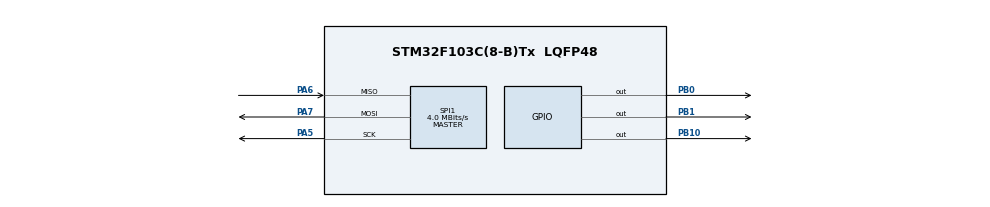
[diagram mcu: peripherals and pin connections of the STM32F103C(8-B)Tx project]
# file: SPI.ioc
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Mcu.Family=STM32F1
Mcu.Name=STM32F103C(8-B)Tx
Mcu.Package=LQFP48
NVIC.PriorityGroup=NVIC_PRIORITYGROUP_4
PA13.Mode=Serial_Wire
PA13.Signal=SYS_JTMS-SWDIO
PA14.Mode=Serial_Wire
PA14.Signal=SYS_JTCK-SWCLK
PA5.Mode=Full_Duplex_Master
PA5.Signal=SPI1_SCK
PA6.Mode=Full_Duplex_Master
PA6.Signal=SPI1_MISO
PA7.Mode=Full_Duplex_Master
PA7.Signal=SPI1_MOSI
PB0.Signal=GPIO_Output
PB1.Signal=GPIO_Output
PB10.Signal=GPIO_Output
ProjectManager.HeapSize=0x200
ProjectManager.StackSize=0x400
ProjectManager.TargetToolchain=STM32CubeIDE
RCC.APB1Freq_Value=8000000
RCC.APB2Freq_Value=8000000
SPI1.CalculateBaudRate=4.0 MBits/s
SPI1.Direction=SPI_DIRECTION_2LINES
SPI1.Mode=SPI_MODE_MASTER
SPI1.VirtualType=VM_MASTER
board=custom

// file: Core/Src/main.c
/* USER CODE BEGIN Header */
/**
  ******************************************************************************
  * @file           : main.c
  * @brief          : Main program body
  ******************************************************************************
  * @attention
  *
  * Copyright (c) 2026 STMicroelectronics.
  * All rights reserved.
  *
  * This software is licensed under terms that can be found in the LICENSE file
  * in the root directory of this software component.
  * If no LICENSE file comes with this software, it is provided AS-IS.
  *
  ******************************************************************************
  */
/* USER CODE END Header */
#include "main.h"

SPI_HandleTypeDef hspi1;

void SystemClock_Config(void);
static void MX_GPIO_Init(void);
static void MX_SPI1_Init(void);

/* USER CODE BEGIN 0 */

void writeCMD(uint8_t cmd){
	HAL_GPIO_WritePin(GPIOB, GPIO_PIN_0, 0); // CS =0
	HAL_GPIO_WritePin(GPIOB, GPIO_PIN_1, 0); // A0 =0 ->cmd
	HAL_SPI_Transmit(&hspi1, &cmd, 1, 1000);
	HAL_GPIO_WritePin(GPIOB, GPIO_PIN_0, 1); // CS=1
}

void writeData(uint8_t data){
	HAL_GPIO_WritePin(GPIOB, GPIO_PIN_0, 0); // CS =0
	HAL_GPIO_WritePin(GPIOB, GPIO_PIN_1, 1); // A0 =1 -> data
	HAL_SPI_Transmit(&hspi1, &data, 1, 1000);
	HAL_GPIO_WritePin(GPIOB, GPIO_PIN_0, 1); // CS=1
}

void setPOS(uint8_t x1, uint8_t y1, uint8_t x2, uint8_t y2){
	writeCMD(0x2A);// Column address set
	writeData(0x00);
	writeData(x1);
	writeData(0x00);
	writeData(x2);

	writeCMD(0x2B);// Row address set
	writeData(0x00);
	writeData(y1);
	writeData(0x00);
	writeData(y2);
}

//RGB 16bit 565
void fullDisplay(uint16_t color){
	writeCMD(0x2C);
	int i;
	for(i=0; i< 128*160 ; i++){
		writeData(color & 0xFF);
		writeData(color >> 8);

	}

}

void initTFT(){
	// hw reset
	HAL_GPIO_WritePin(GPIOB, GPIO_PIN_10, 0);
	HAL_Delay(20);
	HAL_GPIO_WritePin(GPIOB, GPIO_PIN_10, 1);
	HAL_Delay(20);
	//sw reset
	writeCMD(0x01);
	HAL_Delay(200);
	// sleep out
	writeCMD(0x11);
	HAL_Delay(200);

	writeCMD(0xB1);
	// 0x01   0x2C  0x2D
	writeData(0x01);
	writeData(0x2C);
	writeData(0x2D);

	writeCMD(0xB2);
	writeData(0x01);
	writeData(0x2C);
	writeData(0x2D);

	writeCMD(0xB3);
	writeData(0x01);
	writeData(0x2C);
	writeData(0x2D);
	writeData(0x01);
	writeData(0x2C);
	writeData(0x2D);

	writeCMD(0xB4);
	writeData(0x07);

	writeCMD(0xC0);
	//0xA2 0x02  0x84
	writeData(0x2D);
	writeData(0xA2);
	writeData(0x02);
	writeData(0x84);

	writeCMD(0xC1);
	writeData(0xC5);

	writeCMD(0xC2); // 0x0A 0x00
	writeData(0x0A);
	writeData(0x00);

	writeCMD(0xC3); // 0x8A 0x2A
	writeData(0x8A);
	writeData(0x2A);

	writeCMD(0xC4); // 0x8A 0xEE
	writeData(0x8A);
	writeData(0xEE);

	writeCMD(0xC5);
	writeData(0x0E);

	writeCMD(0xE0); // 0x02  0x1C  0x07  0x12  0x37  0x32  0x29  0x2D  0x29  0x25 0x2B  0x39  0x00  0x01  0x03  0x10
	writeData(0x02);
	writeData(0x1C);
	writeData(0x07);
	writeData(0x12);
	writeData(0x37);
	writeData(0x32);
	writeData(0x29);
	writeData(0x2D);
	writeData(0x29);
	writeData(0x25);
	writeData(0x2B);
	writeData(0x39);
	writeData(0x00);
	writeData(0x01);
	writeData(0x03);
	writeData(0x10);

	writeCMD(0xE1); // 0x03  0x1D 0x07 0x06 0x2E 0x2C 0x29  0x2D  0x2E  0x2E  0x37  0x3F  0x00  0x00 0x02 0x10
	writeData(0x03);
	writeData(0x1D);
	writeData(0x07);
	writeData(0x06);
	writeData(0x2E);
	writeData(0x2C);
	writeData(0x29);
	writeData(0x2D);
	writeData(0x2E);
	writeData(0x2E);
	writeData(0x37);
	writeData(0x3F);
	writeData(0x00);
	writeData(0x00);
	writeData(0x02);
	writeData(0x10);

	writeCMD(0x36); // memory data access control
	writeData(0x08);

	writeCMD(0x3A); // interface pixel format
	writeData(0x05);

	writeCMD(0x20);

	setPOS(0,0, 128, 160);
	//EN display
	writeCMD(0x29);
	HAL_Delay(100);
}

/* USER CODE END 0 */

int main(void)
{

  /* MCU Configuration--------------------------------------------------------*/

  /* Reset of all peripherals, Initializes the Flash interface and the Systick. */
  HAL_Init();

  /* Configure the system clock */
  SystemClock_Config();

  /* Initialize all configured peripherals */
  MX_GPIO_Init();
  MX_SPI1_Init();
  /* USER CODE BEGIN 2 */
  HAL_GPIO_WritePin(GPIOB, GPIO_PIN_0, 1);
  initTFT();
  /* USER CODE END 2 */

  /* Infinite loop */
  while (1)
  {
	  fullDisplay(0xF800);
	  HAL_Delay(100);
  }
}

void SystemClock_Config(void)
{
  RCC_OscInitTypeDef RCC_OscInitStruct = {0};
  RCC_ClkInitTypeDef RCC_ClkInitStruct = {0};

  /** Initializes the RCC Oscillators according to the specified parameters
  * in the RCC_OscInitTypeDef structure.
  */
  RCC_OscInitStruct.OscillatorType = RCC_OSCILLATORTYPE_HSI;
  RCC_OscInitStruct.HSIState = RCC_HSI_ON;
  RCC_OscInitStruct.HSICalibrationValue = RCC_HSICALIBRATION_DEFAULT;
  RCC_OscInitStruct.PLL.PLLState = RCC_PLL_NONE;
  if (HAL_RCC_OscConfig(&RCC_OscInitStruct) != HAL_OK)
  {
    Error_Handler();
  }

  /** Initializes the CPU, AHB and APB buses clocks
  */
  RCC_ClkInitStruct.ClockType = RCC_CLOCKTYPE_HCLK|RCC_CLOCKTYPE_SYSCLK
                              |RCC_CLOCKTYPE_PCLK1|RCC_CLOCKTYPE_PCLK2;
  RCC_ClkInitStruct.SYSCLKSource = RCC_SYSCLKSOURCE_HSI;
  RCC_ClkInitStruct.AHBCLKDivider = RCC_SYSCLK_DIV1;
  RCC_ClkInitStruct.APB1CLKDivider = RCC_HCLK_DIV1;
  RCC_ClkInitStruct.APB2CLKDivider = RCC_HCLK_DIV1;

  if (HAL_RCC_ClockConfig(&RCC_ClkInitStruct, FLASH_LATENCY_0) != HAL_OK)
  {
    Error_Handler();
  }
}

static void MX_SPI1_Init(void)
{

  /* SPI1 parameter configuration*/
  hspi1.Instance = SPI1;
  hspi1.Init.Mode = SPI_MODE_MASTER;
  hspi1.Init.Direction = SPI_DIRECTION_2LINES;
  hspi1.Init.DataSize = SPI_DATASIZE_8BIT;
  hspi1.Init.CLKPolarity = SPI_POLARITY_LOW;
  hspi1.Init.CLKPhase = SPI_PHASE_1EDGE;
  hspi1.Init.NSS = SPI_NSS_SOFT;
  hspi1.Init.BaudRatePrescaler = SPI_BAUDRATEPRESCALER_2;
  hspi1.Init.FirstBit = SPI_FIRSTBIT_MSB;
  hspi1.Init.TIMode = SPI_TIMODE_DISABLE;
  hspi1.Init.CRCCalculation = SPI_CRCCALCULATION_DISABLE;
  hspi1.Init.CRCPolynomial = 10;
  if (HAL_SPI_Init(&hspi1) != HAL_OK)
  {
    Error_Handler();
  }

}

static void MX_GPIO_Init(void)
{
  GPIO_InitTypeDef GPIO_InitStruct = {0};

  /* GPIO Ports Clock Enable */
  __HAL_RCC_GPIOA_CLK_ENABLE();
  __HAL_RCC_GPIOB_CLK_ENABLE();

  /*Configure GPIO pin Output Level */
  HAL_GPIO_WritePin(GPIOB, GPIO_PIN_0|GPIO_PIN_1|GPIO_PIN_10, GPIO_PIN_RESET);

  /*Configure GPIO pins : PB0 PB1 PB10 */
  GPIO_InitStruct.Pin = GPIO_PIN_0|GPIO_PIN_1|GPIO_PIN_10;
  GPIO_InitStruct.Mode = GPIO_MODE_OUTPUT_PP;
  GPIO_InitStruct.Pull = GPIO_NOPULL;
  GPIO_InitStruct.Speed = GPIO_SPEED_FREQ_LOW;
  HAL_GPIO_Init(GPIOB, &GPIO_InitStruct);

}

void Error_Handler(void)
{
  __disable_irq();
  while (1)
  {
  }
}
